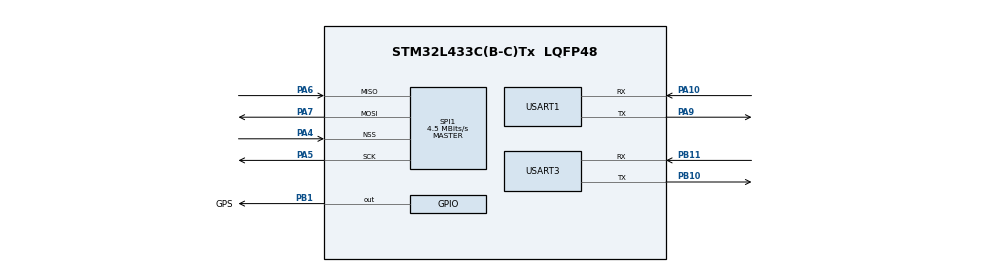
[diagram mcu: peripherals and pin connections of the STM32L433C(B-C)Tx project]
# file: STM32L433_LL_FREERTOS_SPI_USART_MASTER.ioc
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FREERTOS.Tasks01=defaultTask,0,128,StartDefaultTask,Default,NULL,Dynamic,NULL,NULL;myTask02,-3,128,StartTask02,Default,NULL,Dynamic,NULL,NULL;myTask03,-3,128,StartTask03,Default,NULL,Dynamic,NULL,NULL;myTask04,-3,128,StartTask04,Default,NULL,Dynamic,NULL,NULL
Mcu.Family=STM32L4
Mcu.Name=STM32L433C(B-C)Tx
Mcu.Package=LQFP48
NVIC.PriorityGroup=NVIC_PRIORITYGROUP_4
NVIC.TIM1_UP_TIM16_IRQn=true\:15\:0\:false\:false\:true\:false\:false\:true\:true
NVIC.TimeBase=TIM1_UP_TIM16_IRQn
NVIC.TimeBaseIP=TIM1
NVIC.USART1_IRQn=true\:5\:0\:false\:false\:true\:true\:true\:true\:true
NVIC.USART3_IRQn=true\:5\:0\:false\:false\:true\:true\:true\:true\:true
PA10.Mode=Asynchronous
PA10.Signal=USART1_RX
PA13\ (JTMS-SWDIO).Mode=Serial_Wire
PA13\ (JTMS-SWDIO).Signal=SYS_JTMS-SWDIO
PA14\ (JTCK-SWCLK).Mode=Serial_Wire
PA14\ (JTCK-SWCLK).Signal=SYS_JTCK-SWCLK
PA4.Mode=NSS_Signal_Hard_Input
PA4.Signal=SPI1_NSS
PA5.Mode=Full_Duplex_Master
PA5.Signal=SPI1_SCK
PA6.Mode=Full_Duplex_Master
PA6.Signal=SPI1_MISO
PA7.Mode=Full_Duplex_Master
PA7.Signal=SPI1_MOSI
PA9.Mode=Asynchronous
PA9.Signal=USART1_TX
PB1.GPIO_Label=GPS
PB1.Signal=GPIO_Output
PB10.Mode=Asynchronous
PB10.Signal=USART3_TX
PB11.Mode=Asynchronous
PB11.Signal=USART3_RX
PH0-OSC_IN\ (PH0).Mode=HSE-External-Oscillator
PH0-OSC_IN\ (PH0).Signal=RCC_OSC_IN
PH1-OSC_OUT\ (PH1).Mode=HSE-External-Oscillator
PH1-OSC_OUT\ (PH1).Signal=RCC_OSC_OUT
ProjectManager.HeapSize=0x200
ProjectManager.StackSize=0x400
ProjectManager.TargetToolchain=EWARM V8.32
RCC.ADCFreq_Value=192000000
RCC.AHBFreq_Value=72000000
RCC.APB1Freq_Value=72000000
RCC.APB1TimFreq_Value=72000000
RCC.APB2Freq_Value=72000000
RCC.APB2TimFreq_Value=72000000
RCC.CortexFreq_Value=72000000
RCC.HCLKFreq_Value=72000000
RCC.HSE_VALUE=8000000
RCC.HSI48_VALUE=48000000
RCC.HSI_VALUE=16000000
RCC.LSE_VALUE=32768
RCC.MSI_VALUE=4000000
RCC.PLLN=9
RCC.PLLSAI1N=24
RCC.PLLSourceVirtual=RCC_PLLSOURCE_HSI
RCC.SYSCLKFreq_VALUE=72000000
RCC.SYSCLKSource=RCC_SYSCLKSOURCE_PLLCLK
RCC.USBFreq_Value=192000000
RCC.VCOOutputFreq_Value=144000000
SPI1.BaudRatePrescaler=SPI_BAUDRATEPRESCALER_16
SPI1.CalculateBaudRate=4.5 MBits/s
SPI1.DataSize=SPI_DATASIZE_16BIT
SPI1.Direction=SPI_DIRECTION_2LINES
SPI1.Mode=SPI_MODE_MASTER
SPI1.VirtualNSS=VM_NSSHARD
SPI1.VirtualType=VM_MASTER
USART1.VirtualMode-Asynchronous=VM_ASYNC
USART3.VirtualMode-Asynchronous=VM_ASYNC
VP_FREERTOS_VS_CMSIS_V1.Mode=CMSIS_V1
VP_SYS_VS_tim1.Mode=TIM1
board=custom

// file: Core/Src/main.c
/* USER CODE BEGIN Header */
/**
  ******************************************************************************
  * @file           : main.c
  * @brief          : Main program body
  ******************************************************************************
  * @attention
  *
  * Copyright (c) 2024 STMicroelectronics.
  * All rights reserved.
  *
  * This software is licensed under terms that can be found in the LICENSE file
  * in the root directory of this software component.
  * If no LICENSE file comes with this software, it is provided AS-IS.
  *
  ******************************************************************************
  */
/* USER CODE END Header */
#include "main.h"
#include "cmsis_os.h"

/* USER CODE BEGIN Includes */
#include <stdio.h>
#include <string.h>
/* USER CODE END Includes */

/* USER CODE BEGIN PD */
#define BUFSIZE  128       // GPS buffer size
/* USER CODE END PD */

osThreadId defaultTaskHandle;
osThreadId myTask02Handle;
osThreadId myTask03Handle;
osThreadId myTask04Handle;

void SystemClock_Config(void);
static void MX_GPIO_Init(void);
static void MX_SPI1_Init(void);
static void MX_USART1_UART_Init(void);
static void MX_USART3_UART_Init(void);
void StartDefaultTask(void const * argument);
void StartTask02(void const * argument);
void StartTask03(void const * argument);
void StartTask04(void const * argument);

/* USER CODE BEGIN PFP */
void Task01(void const * argument);
/* USER CODE END PFP */

/* USER CODE BEGIN 0 */

uint8_t rx_U3_data = 0;
uint8_t rx_U3_buffer[BUFSIZE];
uint8_t rx_U3_buffer0[BUFSIZE];
//uint8_t rx_U3_buffer1[BUFSIZE];

static uint16_t rx_U3_index = 0;
static uint16_t rx_U3_index0 = 0;
//static uint16_t rx_U3_index1 = 0;

uint8_t rx_U3_flag0 = 0;
//uint8_t rx_U3_flag1 = 0;

uint16_t rx_S1_data = 0;
uint16_t rx_S1_buffer[BUFSIZE];
uint16_t rx_S1_buffer0[BUFSIZE];
uint16_t rx_S1_buffer1[BUFSIZE];

static uint16_t rx_S1_index = 0;
static uint16_t rx_S1_index0 = 0;
static uint16_t rx_S1_index1 = 0;

uint8_t rx_S1_flag0 = 0;
uint8_t rx_S1_flag1 = 0;

//-------------------------------------------------------
void USART3_TX (uint8_t* dt, uint16_t sz)
{
  uint16_t ind = 0;
  while (ind<sz)
  {
    while (!LL_USART_IsActiveFlag_TXE(USART3)) {}
    LL_USART_TransmitData8(USART3,*(uint8_t*)(dt+ind));
    ind++;
  }
}
//-------------------------------------------------------
//-------------------------------------------------------
void USART1_TX (uint8_t* dt, uint16_t sz)
{
  uint16_t ind = 0;
  while (ind<sz)
  {
    while (!LL_USART_IsActiveFlag_TXE(USART1)) {}
    LL_USART_TransmitData8(USART1,*(uint8_t*)(dt+ind));
    ind++;
  }
}
//-------------------------------------------------------

//-------------------------------------------------------
void SPI_TX (uint16_t* dt, uint16_t sz)
{
  uint16_t ind = 0;
  while (ind<sz)
  {
    while(!LL_SPI_IsActiveFlag_TXE(SPI1)) {}
    LL_SPI_TransmitData16 (SPI1, rx_S1_buffer0[ind]);
    ind++;
  }
}
//-------------------------------------------------------
//-----------------------------------------------
void  USART3_RX_Callback(void)
{

              rx_U3_data = LL_USART_ReceiveData8(USART1);

              if (rx_U3_data != 0x0A && rx_U3_index < sizeof(rx_U3_buffer))
              {
                      rx_U3_buffer[rx_U3_index++] = rx_U3_data;
              }
              else
              {

                  if (!rx_U3_flag0)
                  {
                      for (uint8_t i = 0; i < rx_U3_index; i++)
                          rx_U3_buffer0[i] = rx_U3_buffer[i];
                      rx_U3_index0 = rx_U3_index;
                      rx_U3_flag0 = 1;
                  }

                  rx_U3_index = 0;
                  for (uint8_t i = 0; i < BUFSIZE; i++)
                    rx_U3_buffer[i] = 0;
              }

}
//-----------------------------------------------
/* USER CODE END 0 */

int main(void)
{

  /* MCU Configuration--------------------------------------------------------*/

  /* Reset of all peripherals, Initializes the Flash interface and the Systick. */
  HAL_Init();

  /* Configure the system clock */
  SystemClock_Config();

  /* Initialize all configured peripherals */
  MX_GPIO_Init();
  MX_SPI1_Init();
  MX_USART1_UART_Init();
  MX_USART3_UART_Init();
  /* USER CODE BEGIN 2 */
  LL_SPI_Enable(SPI1);
  LL_USART_EnableIT_RXNE(USART1);
  LL_USART_EnableIT_ERROR(USART1);
  LL_USART_EnableIT_RXNE(USART3);
  LL_USART_EnableIT_ERROR(USART3);
  /* USER CODE END 2 */

  /* Create the thread(s) */
  /* definition and creation of defaultTask */
  osThreadDef(defaultTask, StartDefaultTask, osPriorityNormal, 0, 128);
  defaultTaskHandle = osThreadCreate(osThread(defaultTask), NULL);

  /* definition and creation of myTask02 */
  osThreadDef(myTask02, StartTask02, osPriorityIdle, 0, 128);
  myTask02Handle = osThreadCreate(osThread(myTask02), NULL);

  /* definition and creation of myTask03 */
  osThreadDef(myTask03, StartTask03, osPriorityIdle, 0, 128);
  myTask03Handle = osThreadCreate(osThread(myTask03), NULL);

  /* definition and creation of myTask04 */
  osThreadDef(myTask04, StartTask04, osPriorityIdle, 0, 128);
  myTask04Handle = osThreadCreate(osThread(myTask04), NULL);

  /* Start scheduler */
  osKernelStart();

  /* We should never get here as control is now taken by the scheduler */
  /* Infinite loop */
  while (1)
  {

  }
}

void SystemClock_Config(void)
{
  LL_FLASH_SetLatency(LL_FLASH_LATENCY_4);
  while(LL_FLASH_GetLatency()!= LL_FLASH_LATENCY_4)
  {
  }
  LL_PWR_SetRegulVoltageScaling(LL_PWR_REGU_VOLTAGE_SCALE1);
  while (LL_PWR_IsActiveFlag_VOS() != 0)
  {
  }
  LL_RCC_HSI_Enable();

   /* Wait till HSI is ready */
  while(LL_RCC_HSI_IsReady() != 1)
  {

  }
  LL_RCC_HSI_SetCalibTrimming(16);
  LL_RCC_PLL_ConfigDomain_SYS(LL_RCC_PLLSOURCE_HSI, LL_RCC_PLLM_DIV_1, 9, LL_RCC_PLLR_DIV_2);
  LL_RCC_PLL_EnableDomain_SYS();
  LL_RCC_PLL_Enable();

   /* Wait till PLL is ready */
  while(LL_RCC_PLL_IsReady() != 1)
  {

  }
  LL_RCC_SetSysClkSource(LL_RCC_SYS_CLKSOURCE_PLL);

   /* Wait till System clock is ready */
  while(LL_RCC_GetSysClkSource() != LL_RCC_SYS_CLKSOURCE_STATUS_PLL)
  {

  }
  LL_RCC_SetAHBPrescaler(LL_RCC_SYSCLK_DIV_1);
  LL_RCC_SetAPB1Prescaler(LL_RCC_APB1_DIV_1);
  LL_RCC_SetAPB2Prescaler(LL_RCC_APB2_DIV_1);
  LL_SetSystemCoreClock(72000000);

   /* Update the time base */
  if (HAL_InitTick (TICK_INT_PRIORITY) != HAL_OK)
  {
    Error_Handler();
  }
}

static void MX_SPI1_Init(void)
{

  LL_SPI_InitTypeDef SPI_InitStruct = {0};

  LL_GPIO_InitTypeDef GPIO_InitStruct = {0};

  /* Peripheral clock enable */
  LL_APB2_GRP1_EnableClock(LL_APB2_GRP1_PERIPH_SPI1);

  LL_AHB2_GRP1_EnableClock(LL_AHB2_GRP1_PERIPH_GPIOA);
  /**SPI1 GPIO Configuration
  PA4   ------> SPI1_NSS
  PA5   ------> SPI1_SCK
  PA6   ------> SPI1_MISO
  PA7   ------> SPI1_MOSI
  */
  GPIO_InitStruct.Pin = LL_GPIO_PIN_4|LL_GPIO_PIN_5|LL_GPIO_PIN_6|LL_GPIO_PIN_7;
  GPIO_InitStruct.Mode = LL_GPIO_MODE_ALTERNATE;
  GPIO_InitStruct.Speed = LL_GPIO_SPEED_FREQ_VERY_HIGH;
  GPIO_InitStruct.OutputType = LL_GPIO_OUTPUT_PUSHPULL;
  GPIO_InitStruct.Pull = LL_GPIO_PULL_NO;
  GPIO_InitStruct.Alternate = LL_GPIO_AF_5;
  LL_GPIO_Init(GPIOA, &GPIO_InitStruct);

  /* SPI1 parameter configuration*/
  SPI_InitStruct.TransferDirection = LL_SPI_FULL_DUPLEX;
  SPI_InitStruct.Mode = LL_SPI_MODE_MASTER;
  SPI_InitStruct.DataWidth = LL_SPI_DATAWIDTH_16BIT;
  SPI_InitStruct.ClockPolarity = LL_SPI_POLARITY_LOW;
  SPI_InitStruct.ClockPhase = LL_SPI_PHASE_1EDGE;
  SPI_InitStruct.NSS = LL_SPI_NSS_HARD_INPUT;
  SPI_InitStruct.BaudRate = LL_SPI_BAUDRATEPRESCALER_DIV16;
  SPI_InitStruct.BitOrder = LL_SPI_MSB_FIRST;
  SPI_InitStruct.CRCCalculation = LL_SPI_CRCCALCULATION_DISABLE;
  SPI_InitStruct.CRCPoly = 7;
  LL_SPI_Init(SPI1, &SPI_InitStruct);
  LL_SPI_SetStandard(SPI1, LL_SPI_PROTOCOL_MOTOROLA);
  LL_SPI_EnableNSSPulseMgt(SPI1);

}

static void MX_USART1_UART_Init(void)
{

  LL_USART_InitTypeDef USART_InitStruct = {0};

  LL_GPIO_InitTypeDef GPIO_InitStruct = {0};

  LL_RCC_SetUSARTClockSource(LL_RCC_USART1_CLKSOURCE_PCLK2);

  /* Peripheral clock enable */
  LL_APB2_GRP1_EnableClock(LL_APB2_GRP1_PERIPH_USART1);

  LL_AHB2_GRP1_EnableClock(LL_AHB2_GRP1_PERIPH_GPIOA);
  /**USART1 GPIO Configuration
  PA9   ------> USART1_TX
  PA10   ------> USART1_RX
  */
  GPIO_InitStruct.Pin = LL_GPIO_PIN_9|LL_GPIO_PIN_10;
  GPIO_InitStruct.Mode = LL_GPIO_MODE_ALTERNATE;
  GPIO_InitStruct.Speed = LL_GPIO_SPEED_FREQ_VERY_HIGH;
  GPIO_InitStruct.OutputType = LL_GPIO_OUTPUT_PUSHPULL;
  GPIO_InitStruct.Pull = LL_GPIO_PULL_NO;
  GPIO_InitStruct.Alternate = LL_GPIO_AF_7;
  LL_GPIO_Init(GPIOA, &GPIO_InitStruct);

  /* USART1 interrupt Init */
  NVIC_SetPriority(USART1_IRQn, NVIC_EncodePriority(NVIC_GetPriorityGrouping(),5, 0));
  NVIC_EnableIRQ(USART1_IRQn);

  USART_InitStruct.BaudRate = 115200;
  USART_InitStruct.DataWidth = LL_USART_DATAWIDTH_8B;
  USART_InitStruct.StopBits = LL_USART_STOPBITS_1;
  USART_InitStruct.Parity = LL_USART_PARITY_NONE;
  USART_InitStruct.TransferDirection = LL_USART_DIRECTION_TX_RX;
  USART_InitStruct.HardwareFlowControl = LL_USART_HWCONTROL_NONE;
  USART_InitStruct.OverSampling = LL_USART_OVERSAMPLING_16;
  LL_USART_Init(USART1, &USART_InitStruct);
  LL_USART_ConfigAsyncMode(USART1);
  LL_USART_Enable(USART1);

}

static void MX_USART3_UART_Init(void)
{

  LL_USART_InitTypeDef USART_InitStruct = {0};

  LL_GPIO_InitTypeDef GPIO_InitStruct = {0};

  LL_RCC_SetUSARTClockSource(LL_RCC_USART3_CLKSOURCE_PCLK1);

  /* Peripheral clock enable */
  LL_APB1_GRP1_EnableClock(LL_APB1_GRP1_PERIPH_USART3);

  LL_AHB2_GRP1_EnableClock(LL_AHB2_GRP1_PERIPH_GPIOB);
  /**USART3 GPIO Configuration
  PB10   ------> USART3_TX
  PB11   ------> USART3_RX
  */
  GPIO_InitStruct.Pin = LL_GPIO_PIN_10|LL_GPIO_PIN_11;
  GPIO_InitStruct.Mode = LL_GPIO_MODE_ALTERNATE;
  GPIO_InitStruct.Speed = LL_GPIO_SPEED_FREQ_VERY_HIGH;
  GPIO_InitStruct.OutputType = LL_GPIO_OUTPUT_PUSHPULL;
  GPIO_InitStruct.Pull = LL_GPIO_PULL_NO;
  GPIO_InitStruct.Alternate = LL_GPIO_AF_7;
  LL_GPIO_Init(GPIOB, &GPIO_InitStruct);

  /* USART3 interrupt Init */
  NVIC_SetPriority(USART3_IRQn, NVIC_EncodePriority(NVIC_GetPriorityGrouping(),5, 0));
  NVIC_EnableIRQ(USART3_IRQn);

  USART_InitStruct.BaudRate = 115200;
  USART_InitStruct.DataWidth = LL_USART_DATAWIDTH_8B;
  USART_InitStruct.StopBits = LL_USART_STOPBITS_1;
  USART_InitStruct.Parity = LL_USART_PARITY_NONE;
  USART_InitStruct.TransferDirection = LL_USART_DIRECTION_TX_RX;
  USART_InitStruct.HardwareFlowControl = LL_USART_HWCONTROL_NONE;
  USART_InitStruct.OverSampling = LL_USART_OVERSAMPLING_16;
  LL_USART_Init(USART3, &USART_InitStruct);
  LL_USART_ConfigAsyncMode(USART3);
  LL_USART_Enable(USART3);

}

static void MX_GPIO_Init(void)
{
  LL_GPIO_InitTypeDef GPIO_InitStruct = {0};

  /* GPIO Ports Clock Enable */
  LL_AHB2_GRP1_EnableClock(LL_AHB2_GRP1_PERIPH_GPIOH);
  LL_AHB2_GRP1_EnableClock(LL_AHB2_GRP1_PERIPH_GPIOA);
  LL_AHB2_GRP1_EnableClock(LL_AHB2_GRP1_PERIPH_GPIOB);

  /**/
  LL_GPIO_ResetOutputPin(GPS_GPIO_Port, GPS_Pin);

  /**/
  GPIO_InitStruct.Pin = GPS_Pin;
  GPIO_InitStruct.Mode = LL_GPIO_MODE_OUTPUT;
  GPIO_InitStruct.Speed = LL_GPIO_SPEED_FREQ_LOW;
  GPIO_InitStruct.OutputType = LL_GPIO_OUTPUT_PUSHPULL;
  GPIO_InitStruct.Pull = LL_GPIO_PULL_NO;
  LL_GPIO_Init(GPS_GPIO_Port, &GPIO_InitStruct);

}

void StartDefaultTask(void const * argument)
{
  /* USER CODE BEGIN 5 */
	uint32_t syscnt;
  /* Infinite loop */
  for(;;)
  {
    while(!LL_SPI_IsActiveFlag_RXNE(SPI1)) {}
    rx_S1_data = LL_SPI_ReceiveData16(SPI1);
              if (rx_S1_data != 0x0A && rx_S1_index < sizeof(rx_S1_buffer))
              {
                      rx_S1_buffer[rx_S1_index++] = rx_S1_data;
              }
              else
              {

                  if (!rx_S1_flag0)
                  {
                      for (uint8_t i = 0; i < rx_S1_index; i++)
                          rx_S1_buffer0[i] = rx_S1_buffer[i];
                      rx_S1_index0 = rx_S1_index;
                      rx_S1_flag0 = 1;
                  }

                  rx_S1_index = 0;
                  for (uint8_t i = 0; i < BUFSIZE; i++)
                    rx_S1_buffer[i] = 0;
              }
    osDelay(99);

    syscnt = osKernelSysTick();
    if((syscnt>0)&&(syscnt<8500))
    {
      if(osThreadGetPriority(defaultTaskHandle)==osPriorityIdle)
        osThreadSetPriority(defaultTaskHandle,osPriorityLow);
    }
    else if((syscnt>8500)&&(syscnt<17000))
    {
      if(osThreadGetPriority(myTask02Handle)==osPriorityIdle)
        osThreadSetPriority(myTask02Handle,osPriorityLow);
    }
    else if((syscnt>170000)&&(syscnt<25500))
    {
      if(osThreadGetPriority(myTask03Handle)==osPriorityLow)
        osThreadSetPriority(myTask03Handle,osPriorityLow);
    }
    else if((syscnt>25500)&&(syscnt<34000))
    {
      if(osThreadGetPriority(myTask04Handle)==osPriorityLow)
        osThreadSetPriority(myTask04Handle,osPriorityIdle);
    }
    else if((syscnt>34000)&&(syscnt<42500))
    {
      if(osThreadGetPriority(myTask03Handle)==osPriorityLow)
        osThreadSetPriority(myTask03Handle,osPriorityIdle);
    }
    else if((syscnt>42500)&&(syscnt<51000))
    {
      if(osThreadGetPriority(myTask02Handle)==osPriorityLow)
        osThreadSetPriority(myTask02Handle,osPriorityIdle);
    }
    else if((syscnt>51000)&&(syscnt<60000))
    {
      if(osThreadGetPriority(defaultTaskHandle)==osPriorityLow)
        osThreadSetPriority(defaultTaskHandle,osPriorityIdle);
    }
    osDelay(1);
  }
  /* USER CODE END 5 */
}

void StartTask02(void const * argument)
{
  /* USER CODE BEGIN StartTask02 */
  /* Infinite loop */
  for(;;)
  {
    if (rx_U3_flag0)
    {
        SPI_TX((uint16_t*)rx_U3_buffer0,rx_U3_index0);

        rx_U3_index0 = 0;
        for (uint8_t i = 0; i < BUFSIZE; i++)
           rx_U3_buffer0[i] = 0;
        rx_U3_flag0 = 0;
    }
    osDelay(99);
  }
  /* USER CODE END StartTask02 */
}

void StartTask03(void const * argument)
{
  /* USER CODE BEGIN StartTask03 */
  /* Infinite loop */

  for(;;)
  {
    if (rx_S1_flag0)
    {
        USART3_TX((uint8_t*)rx_S1_buffer0,rx_S1_index0);

        rx_S1_index0 = 0;
        for (uint8_t i = 0; i < BUFSIZE; i++)
           rx_S1_buffer0[i] = 0;
        rx_S1_flag0 = 0;
    }

    osDelay(99);
  }
  /* USER CODE END StartTask03 */
}

void StartTask04(void const * argument)
{
  /* USER CODE BEGIN StartTask04 */
  /* Infinite loop */
  for(;;)
  {
    if (rx_S1_flag1)
    {
        USART1_TX((uint8_t*)rx_S1_buffer1,rx_S1_index1);

        rx_S1_index1 = 0;
        for (uint8_t i = 0; i < BUFSIZE; i++)
           rx_S1_buffer1[i] = 0;
        rx_S1_flag1 = 0;
    }

    osDelay(99);
  }
  /* USER CODE END StartTask04 */
}

void HAL_TIM_PeriodElapsedCallback(TIM_HandleTypeDef *htim)
{
  if (htim->Instance == TIM1) {
    HAL_IncTick();
  }
}

void Error_Handler(void)
{
  __disable_irq();
  while (1)
  {
  }
}
